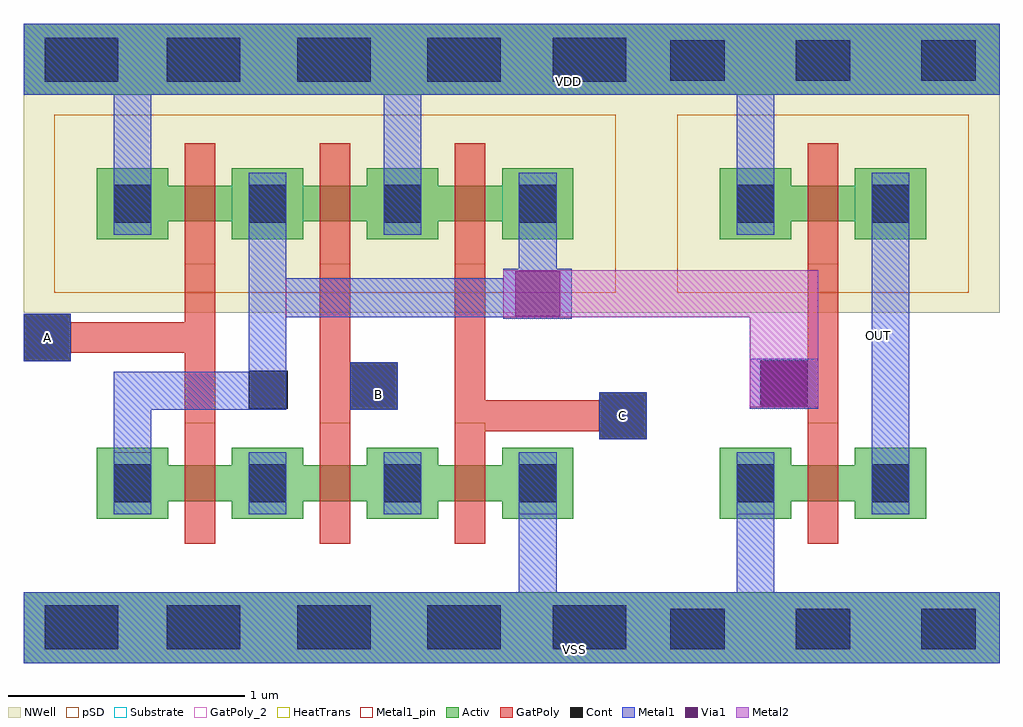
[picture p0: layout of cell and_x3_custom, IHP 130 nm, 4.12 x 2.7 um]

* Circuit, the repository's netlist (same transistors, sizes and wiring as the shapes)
* Extracted by KLayout with SG13G2 LVS runset on : 18/01/2026 22:18

.SUBCKT and_x3_custom VSS VDD A B C OUT
X$1 A B C \$2 VDD VSS nand_x3_custom
X$2 VDD \$2 VSS OUT inv
.ENDS and_x3_custom

.SUBCKT inv VDD VIN VSS VOUT
M$1 VSS VIN VOUT VSS sg13_lv_nmos L=0.13u W=0.15u AS=0.1005p AD=0.1005p
+ PS=1.34u PD=1.34u
M$2 VDD VIN VOUT VDD sg13_lv_pmos L=0.13u W=0.15u AS=0.1005p AD=0.1005p
+ PS=1.34u PD=1.34u
.ENDS inv

.SUBCKT nand_x3_custom A B C OUT VDD VSS
M$1 OUT A \$12 VSS sg13_lv_nmos L=0.13u W=0.15u AS=0.1005p AD=0.0555p PS=1.34u
+ PD=0.74u
M$2 \$12 B \$11 VSS sg13_lv_nmos L=0.13u W=0.15u AS=0.0555p AD=0.0555p PS=0.74u
+ PD=0.74u
M$3 \$11 C VSS VSS sg13_lv_nmos L=0.13u W=0.15u AS=0.0555p AD=0.1005p PS=0.74u
+ PD=1.34u
M$4 VDD A OUT VDD sg13_lv_pmos L=0.13u W=0.15u AS=0.1005p AD=0.0555p PS=1.34u
+ PD=0.74u
M$5 OUT B VDD VDD sg13_lv_pmos L=0.13u W=0.15u AS=0.0555p AD=0.0555p PS=0.74u
+ PD=0.74u
M$6 VDD C OUT VDD sg13_lv_pmos L=0.13u W=0.15u AS=0.0555p AD=0.1005p PS=0.74u
+ PD=1.34u
.ENDS nand_x3_custom

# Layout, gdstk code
from math import pi, radians
import gdstk
lib = gdstk.Library(unit=1e-6, precision=5e-09)
def R(c, l, rs):  # rectangles x0, y0, x1, y1
    for r in rs: c.add(gdstk.rectangle(r[:2], r[2:], *l))
def A(c, l, x, y, w, h, nx, ny, dx, dy):  # array of equal rectangles
    R(c, l, [(x+i*dx, y+j*dy, x+i*dx+w, y+j*dy+h) for i in range(nx) for j in range(ny)])
Activ = (1, 0)
GatPoly = (5, 0)
GatPoly_2 = (5, 2)
Cont = (6, 0)
Metal1 = (8, 0)
Metal1_pin = (8, 2)
Metal2 = (10, 0)
pSD = (14, 0)
Via1 = (19, 0)
NWell = (31, 0)
Substrate = (40, 0)
HeatTrans = (51, 0)

pmos = lib.new_cell('pmos')
R(pmos, Activ, [(0,0,0.3,0.3), (0.57,0,0.87,0.3), (0,0.075,0.87,0.225)])
R(pmos, GatPoly, [(0.37,-0.105,0.5,0.405), (0.37,-0.105,0.5,0.405)])
R(pmos, Cont, [(0.07,0.07,0.23,0.23), (0.64,0.07,0.8,0.23)])
R(pmos, Metal1, [(0.07,0.02,0.23,0.28), (0.07,0.02,0.23,0.28), (0.64,0.02,0.8,0.28), (0.64,0.02,0.8,0.28)])
R(pmos, pSD, [(-0.18,-0.225,1.05,0.525)])
R(pmos, NWell, [(-0.31,-0.31,1.18,0.61)])
R(pmos, Substrate, [(0.57,0,0.87,0.3)])
R(pmos, HeatTrans, [(0.37,-0.105,0.5,0.405)])
pmos.add(gdstk.Label('pmos', (0.435,0.15), layer=63, texttype=0))
pmos.add(gdstk.Label('pmos', (0.435,0.15), layer=51, texttype=0))

nmos = lib.new_cell('nmos')
R(nmos, Activ, [(0,0,0.3,0.3), (0.57,0,0.87,0.3), (0,0.075,0.87,0.225)])
R(nmos, GatPoly, [(0.37,-0.105,0.5,0.405)])
R(nmos, GatPoly_2, [(0.37,-0.105,0.5,0.405)])
R(nmos, Cont, [(0.07,0.07,0.23,0.23), (0.64,0.07,0.8,0.23)])
R(nmos, Metal1, [(0.07,0.02,0.23,0.28), (0.64,0.02,0.8,0.28)])
R(nmos, Metal1_pin, [(0.07,0.02,0.23,0.28), (0.64,0.02,0.8,0.28)])
R(nmos, HeatTrans, [(0.37,-0.105,0.5,0.405)])
nmos.add(gdstk.Label('nmos', (0.435,0.15), layer=63, texttype=0))
nmos.add(gdstk.Label('nmos', (0.435,0.15), layer=51, texttype=0))

nand_x3_custom = lib.new_cell('nand_x3_custom')
R(nand_x3_custom, Activ, [(0.82,3.075,3.45,3.375), (0.82,5.475,3.45,5.775)])
A(nand_x3_custom, GatPoly, 1.5, 3.58, 0.13, 1.69, 3, 1, 0.57, 0)
R(nand_x3_custom, GatPoly, [(2.64,4.055,3.25,4.185), (1.02,4.385,1.5,4.515)])
A(nand_x3_custom, Cont, 1.425, 3.135, 0.31, 0.185, 3, 2, 0.55, 2.395)
R(nand_x3_custom, Cont, [(0.91,3.135,1.22,3.32), (3.055,3.135,3.365,3.32), (3.25,4.02,3.45,4.22), (2.2,4.145,2.4,4.345), (1.77,4.15,1.935,4.31), (0.82,4.35,1.02,4.55), (0.91,5.53,1.22,5.715), (3.055,5.53,3.365,5.715)])
R(nand_x3_custom, Metal1, [(0.82,3.075,3.45,3.375), (2.91,3.075,3.07,3.965), (1.2,3.705,1.36,4.305), (3.25,4.02,3.45,4.22), (1.2,4.145,1.93,4.305), (1.77,4.145,1.93,5.145), (2.2,4.145,2.4,4.345), (0.82,4.35,1.02,4.55), (1.77,4.535,3.07,4.7), (2.91,4.535,3.07,5.145), (1.2,4.885,1.36,5.775), (2.34,4.885,2.5,5.775), (0.82,5.475,3.45,5.775)])
R(nand_x3_custom, Metal1_pin, [(0.82,3.075,3.45,3.375), (3.25,4.02,3.45,4.22), (1.77,4.145,1.93,5.145), (2.2,4.145,2.4,4.345), (0.82,4.35,1.02,4.55), (0.82,5.475,3.45,5.775)])
R(nand_x3_custom, pSD, [(0.82,3.075,3.45,3.375)])
R(nand_x3_custom, NWell, [(0.82,5.475,3.45,5.775)])
nand_x3_custom.add(gdstk.Reference(pmos, (2.57,5.165), rotation=pi))
nand_x3_custom.add(gdstk.Reference(pmos, (2.27,4.865)))
nand_x3_custom.add(gdstk.Reference(nmos, (2,3.985), rotation=pi))
nand_x3_custom.add(gdstk.Reference(nmos, (2.57,3.985), rotation=pi))
nand_x3_custom.add(gdstk.Reference(nmos, (3.14,3.985), rotation=pi))
nand_x3_custom.add(gdstk.Reference(pmos, (1.13,4.865)))
nand_x3_custom.add(gdstk.Label('C', (3.355,4.08), layer=8, texttype=25))
nand_x3_custom.add(gdstk.Label('VSS', (2.135,3.185), layer=8, texttype=25))
nand_x3_custom.add(gdstk.Label('A', (0.88,4.4), layer=8, texttype=25))
nand_x3_custom.add(gdstk.Label('B', (2.28,4.2), layer=8, texttype=25))
nand_x3_custom.add(gdstk.Label('OUT', (1.785,4.205), layer=8, texttype=25))
nand_x3_custom.add(gdstk.Label('VDD', (2.075,5.575), layer=8, texttype=25))

pmos_1 = lib.new_cell('pmos$1')
R(pmos_1, Activ, [(0,0,0.3,0.3), (0.57,0,0.87,0.3), (0,0.075,0.87,0.225)])
R(pmos_1, GatPoly, [(0.37,-0.105,0.5,0.405), (0.37,-0.105,0.5,0.405)])
R(pmos_1, Cont, [(0.07,0.07,0.23,0.23), (0.64,0.07,0.8,0.23)])
R(pmos_1, Metal1, [(0.07,0.02,0.23,0.28), (0.07,0.02,0.23,0.28), (0.64,0.02,0.8,0.28), (0.64,0.02,0.8,0.28)])
R(pmos_1, pSD, [(-0.18,-0.225,1.05,0.525)])
R(pmos_1, NWell, [(-0.31,-0.31,1.18,0.61)])
R(pmos_1, Substrate, [(0.57,0,0.87,0.3)])
R(pmos_1, HeatTrans, [(0.37,-0.105,0.5,0.405)])
pmos_1.add(gdstk.Label('pmos', (0.435,0.15), layer=63, texttype=0))
pmos_1.add(gdstk.Label('pmos', (0.435,0.15), layer=51, texttype=0))

nmos_1 = lib.new_cell('nmos$1')
R(nmos_1, Activ, [(0,0,0.3,0.3), (0.57,0,0.87,0.3), (0,0.075,0.87,0.225)])
R(nmos_1, GatPoly, [(0.37,-0.105,0.5,0.405)])
R(nmos_1, GatPoly_2, [(0.37,-0.105,0.5,0.405)])
R(nmos_1, Cont, [(0.07,0.07,0.23,0.23), (0.64,0.07,0.8,0.23)])
R(nmos_1, Metal1, [(0.07,0.02,0.23,0.28), (0.64,0.02,0.8,0.28)])
R(nmos_1, Metal1_pin, [(0.07,0.02,0.23,0.28), (0.64,0.02,0.8,0.28)])
R(nmos_1, HeatTrans, [(0.37,-0.105,0.5,0.405)])
nmos_1.add(gdstk.Label('nmos', (0.435,0.15), layer=63, texttype=0))
nmos_1.add(gdstk.Label('nmos', (0.435,0.15), layer=51, texttype=0))

inv = lib.new_cell('inv')
R(inv, Activ, [(0.24,0.255,1.73,0.555), (0.24,2.655,1.73,2.955)])
R(inv, GatPoly, [(0.92,0.76,1.05,2.45), (0.72,1.335,0.92,1.535)])
A(inv, Cont, 0.34, 0.315, 0.23, 0.17, 3, 2, 0.53, 2.4)
R(inv, Cont, [(0.72,1.335,0.92,1.535)])
R(inv, Metal1, [(0.24,0.255,1.73,0.555), (0.62,0.255,0.78,1.145), (1.19,0.885,1.35,2.325), (0.72,1.335,0.92,1.535), (0.62,2.065,0.78,2.955), (0.24,2.655,1.73,2.955)])
R(inv, Metal1_pin, [(0.24,0.255,1.73,0.555), (1.19,0.885,1.35,2.325), (0.72,1.335,0.92,1.535), (0.24,2.655,1.73,2.955)])
R(inv, pSD, [(0.24,0.255,1.73,0.555)])
R(inv, NWell, [(0.24,2.655,1.73,2.955)])
inv.add(gdstk.Reference(pmos_1, (0.55,2.045)))
inv.add(gdstk.Reference(nmos_1, (0.55,0.865)))
inv.add(gdstk.Label('VIN', (0.78,1.435), layer=8, texttype=25))
inv.add(gdstk.Label('VSS', (0.95,0.37), layer=8, texttype=25))
inv.add(gdstk.Label('VOUT', (1.2,1.665), layer=8, texttype=25))
inv.add(gdstk.Label('VDD', (0.96,2.805), layer=8, texttype=25))

via_stack_1 = lib.new_cell('via_stack$1')
R(via_stack_1, Metal1, [(-0.145,-0.105,0.145,0.105)])
R(via_stack_1, Metal2, [(-0.145,-0.1,0.145,0.1)])
R(via_stack_1, Via1, [(-0.095,-0.095,0.095,0.095)])

and_x3_custom = lib.new_cell('and_x3_custom')
R(and_x3_custom, Metal2, [(3.885,4.155,4.175,4.735), (2.845,4.535,4.175,4.735)])
and_x3_custom.add(gdstk.Reference(nand_x3_custom, (0,0)))
and_x3_custom.add(gdstk.Reference(inv, (3.21,2.82)))
and_x3_custom.add(gdstk.Reference(via_stack_1, (4.03,4.255)))
and_x3_custom.add(gdstk.Reference(via_stack_1, (2.99,4.635)))
and_x3_custom.add(gdstk.Label('VDD', (3.12,5.53), layer=8, texttype=25))
and_x3_custom.add(gdstk.Label('VSS', (3.145,3.135), layer=8, texttype=25))
and_x3_custom.add(gdstk.Label('A', (0.92,4.45), layer=8, texttype=25))
and_x3_custom.add(gdstk.Label('B', (2.32,4.21), layer=8, texttype=25))
and_x3_custom.add(gdstk.Label('C', (3.35,4.12), layer=8, texttype=25))
and_x3_custom.add(gdstk.Label('OUT', (4.43,4.46), layer=8, texttype=25))

lib.write_gds('and_x3_custom.gds')
